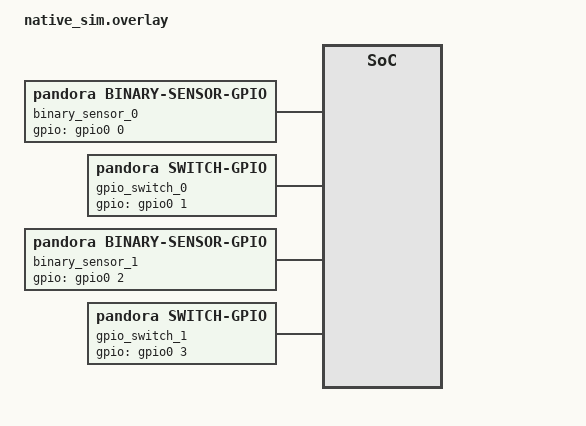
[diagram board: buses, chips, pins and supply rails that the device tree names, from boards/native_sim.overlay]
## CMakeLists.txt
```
# SPDX-License-Identifier: Apache-2.0

cmake_minimum_required(VERSION 3.20.0)
find_package(Zephyr REQUIRED HINTS $ENV{ZEPHYR_BASE})
project(esphome_component_pipeline)

target_sources(app PRIVATE src/main.c)
```

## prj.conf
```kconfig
#Testing
CONFIG_TEST=y
CONFIG_ZTEST=y

CONFIG_LOG=y
CONFIG_PRINTK=y

CONFIG_GPIO=y
CONFIG_GPIO_EMUL=y

CONFIG_KERNEL_MEM_POOL=y
CONFIG_HEAP_MEM_POOL_SIZE=4096
```

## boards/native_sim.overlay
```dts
#include <zephyr/dt-bindings/gpio/gpio.h>

/ {
	binary_sensor_0: binary_sensor_0 {
		compatible = "pandora,binary-sensor-gpio";
		component-name = "Button";
		gpios = <&gpio0 0 GPIO_ACTIVE_HIGH>;
		status = "okay";
	};

	gpio_switch_0: gpio_switch_0 {
		compatible = "pandora,switch-gpio";
		component-name = "Bistablerelay";
		gpios = <&gpio0 1 GPIO_ACTIVE_HIGH>;
		status = "okay";
	};

	binary_sensor_1: binary_sensor_1 {
		compatible = "pandora,binary-sensor-gpio";
		component-name = "Button";
		gpios = <&gpio0 2 GPIO_ACTIVE_HIGH>;
		status = "okay";
	};

	gpio_switch_1: gpio_switch_1 {
		compatible = "pandora,switch-gpio";
		component-name = "Bistablerelay";
		gpios = <&gpio0 3 GPIO_ACTIVE_HIGH>;
		status = "okay";
	};

	pipelines {
		binary_sensor_on_state_toggle_switch {
			compatible = "pandora,pipeline";
			binary-sensor-on-state = <&binary_sensor_0>;
			switch-toggle = <&gpio_switch_0>;
		};

		binary_sensor_on_turn_on_toggle_switch {
			compatible = "pandora,pipeline";
			binary-sensor-on-turn-on = <&binary_sensor_1>;
			switch-toggle = <&gpio_switch_1>;
		};

	};
};
```

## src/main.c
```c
/*
 * Copyright (c) 2024 Alexandre Bailon
 *
 * SPDX-License-Identifier: Apache-2.0
 */

#include <zephyr/ztest.h>
#include <zephyr/device.h>
#include <zephyr/kernel.h>
#include <zephyr/drivers/gpio.h>
#include <zephyr/drivers/gpio/gpio_emul.h>

#include <pandora/components/binary_sensor.h>
#include <pandora/components/switch.h>

struct pandora_pipeline_tests_fixture {
	const struct device *binary_sensor_dev;
	const struct device *switch_dev;
	const struct gpio_dt_spec gpio;
};

static struct pandora_pipeline_tests_fixture *g_fixture = NULL;
static void *pipeline_setup(void)
{
	static struct pandora_pipeline_tests_fixture fixture = {
		.binary_sensor_dev = DEVICE_DT_GET(DT_PATH(binary_sensor_0)),
		.switch_dev = DEVICE_DT_GET(DT_PATH(gpio_switch_0)),
		.gpio = GPIO_DT_SPEC_GET(DT_PATH(binary_sensor_0), gpios),
	};

	g_fixture = &fixture;

	return &fixture;
}

static void pipeline_before(void *f)
{
	struct pandora_pipeline_tests_fixture *fixture = f;

	gpio_emul_input_set_dt(&fixture->gpio, 0);
}

ZTEST_SUITE(pandora_pipeline_tests, NULL, pipeline_setup, pipeline_before, NULL, NULL);

ZTEST_F(pandora_pipeline_tests, test_pipeline_binary_sensor_on_state_to_switch_toggle)
{
	int ret;
	int state;
	int debounce_ms = DT_PROP(DT_PATH(binary_sensor_0), debounce_interval_ms) + 5;

	/* Test initial switch state */
	ret = pandora_switch_get_state(fixture->switch_dev, &state);
	zassert_equal(ret, 0);
	zassert_equal(state, 0);

	/* Set gpio and test if the pipeline handle it and toggle switch state */
	gpio_emul_input_set_dt(&fixture->gpio, 1);
	k_sleep(K_MSEC(debounce_ms)); // Give time to driver for debouncing

	/* Check binary_sensor state */
	ret = pandora_binary_sensor_get_state(fixture->binary_sensor_dev, &state);
	zassert_equal(ret, 0);
	zassert_equal(state, 1);

	/* And check that switch state has changed */
	ret = pandora_switch_get_state(fixture->switch_dev, &state);
	zassert_equal(ret, 0);
	zassert_equal(state, 1);

	/* Unset gpio and validate again pipeline is working */
	gpio_emul_input_set_dt(&fixture->gpio, 0);
	k_sleep(K_MSEC(debounce_ms)); // Give time to driver for debouncing

	/* Check that switch state has changed */
	ret = pandora_switch_get_state(fixture->switch_dev, &state);
	zassert_equal(ret, 0);
	zassert_equal(state, 0);
}

ZTEST_F(pandora_pipeline_tests, test_pipeline_binary_sensor_on_turn_on_to_switch_toggle)
{
	const struct device *switch_dev = DEVICE_DT_GET(DT_PATH(gpio_switch_1));
	const struct gpio_dt_spec gpio = GPIO_DT_SPEC_GET(DT_PATH(binary_sensor_1), gpios);
	int debounce_ms = DT_PROP(DT_PATH(binary_sensor_1), debounce_interval_ms) + 5;
	int state;

	/* Test initial switch state */
	gpio_emul_input_set_dt(&gpio, 0);
	pandora_switch_get_state(switch_dev, &state);
	zassert_equal(state, 0);

	/* Set gpio and test if the pipeline handle it and toggle switch state */
	gpio_emul_input_set_dt(&gpio, 1);
	k_sleep(K_MSEC(debounce_ms)); // Give time to driver for debouncing

	/* And check that switch state has changed */
	pandora_switch_get_state(switch_dev, &state);
	zassert_equal(state, 1);

	/* Unset gpio and validate that state have not changed */
	gpio_emul_input_set_dt(&gpio, 0);
	k_sleep(K_MSEC(debounce_ms)); // Give time to driver for debouncing
	pandora_switch_get_state(switch_dev, &state);
	zassert_equal(state, 1);

	/* Set gpio and test if the pipeline handle it and toggle switch state */
	gpio_emul_input_set_dt(&gpio, 1);
	k_sleep(K_MSEC(debounce_ms)); // Give time to driver for debouncing

	/* And check that switch state has changed */
	pandora_switch_get_state(switch_dev, &state);
	zassert_equal(state, 0);
}
```
